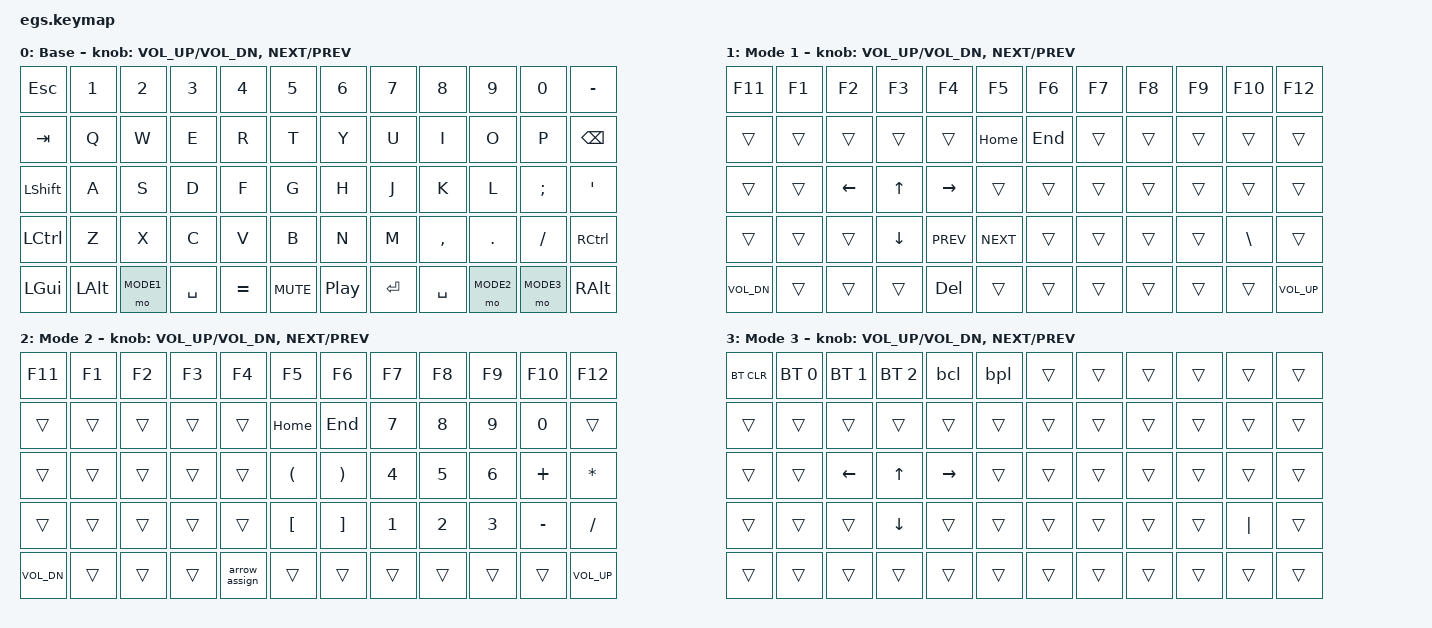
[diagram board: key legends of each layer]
/*
 * Copyright (c) 2026 The EGS_W1 Project
 * SPDX-License-Identifier: MIT
 *
 */

#include <behaviors.dtsi>
#include <dt-bindings/zmk/keys.h>
#include <dt-bindings/zmk/bt.h>
#include <dt-bindings/zmk/outputs.h>
#include <dt-bindings/zmk/ext_power.h>
#include <dt-bindings/zmk/pointing.h>

#define BASE   0
#define MODE1  1
#define MODE2  2
#define MODE3  3

/ {

    macros {
        bcl: battery_central {
            compatible = "zmk,behavior-macro";
            #binding-cells = <0>;
            wait-ms = <10>;
            tap-ms = <10>;
            bindings = <&none>;  /* placeholder — no C_BATTERY in ZMK */
        };

        bpl: battery_peripheral {
            compatible = "zmk,behavior-macro";
            #binding-cells = <0>;
            wait-ms = <10>;
            tap-ms = <10>;
            bindings = <&none>;
        };
        
        arrow_assign: arrow_assign {
            compatible = "zmk,behavior-macro";
            #binding-cells = <0>;
            wait-ms = <10>;
            tap-ms = <10>;
            bindings = <&kp LESS_THAN &kp MINUS>;
        };
};

    keymap {
        compatible = "zmk,keymap";

        base_layer {
            display-name = "Base";
            bindings = <
&kp ESC    &kp N1    &kp N2    &kp N3    &kp N4    &kp N5            &kp N6     &kp N7    &kp N8     &kp N9    &kp N0    &kp MINUS
&kp TAB    &kp Q     &kp W     &kp E     &kp R     &kp T             &kp Y      &kp U     &kp I      &kp O     &kp P     &kp BSPC
&kp LSHFT  &kp A     &kp S     &kp D     &kp F     &kp G             &kp H      &kp J     &kp K      &kp L     &kp SEMI  &kp SQT
&kp LCTRL  &kp Z     &kp X     &kp C     &kp V     &kp B             &kp N      &kp M     &kp COMMA  &kp DOT   &kp FSLH  &kp RCTRL
&kp LGUI   &kp LALT  &mo MODE1 &kp SPACE &kp EQUAL   &kp C_MUTE        &kp C_PP   &kp ENTER &kp SPACE  &mo MODE2 &mo MODE3 &kp RALT
            >;
            sensor-bindings = <&inc_dec_kp C_VOL_UP C_VOL_DN &inc_dec_kp C_NEXT C_PREV>;
        };

        mode1_layer {
            display-name = "Mode 1";
            bindings = <
&kp F11       &kp F1  &kp F2    &kp F3    &kp F4    &kp F5          &kp F6    &kp F7  &kp F8  &kp F9  &kp F10  &kp F12
&trans        &trans  &trans    &trans    &trans    &kp HOME        &kp END   &trans  &trans  &trans  &trans   &trans
&trans        &trans  &kp LEFT  &kp UP    &kp RIGHT &trans          &trans    &trans  &trans  &trans  &trans   &trans
&trans        &trans  &trans    &kp DOWN  &kp C_PREV &kp C_NEXT     &trans    &trans  &trans  &trans  &kp BSLH   &trans
&kp C_VOL_DN  &trans  &trans    &trans    &kp DEL    &trans          &trans    &trans  &trans  &trans  &trans   &kp C_VOL_UP
            >;
            sensor-bindings = <&inc_dec_kp C_VOL_UP C_VOL_DN &inc_dec_kp C_NEXT C_PREV>;
        };

        mode2_layer {
            display-name = "Mode 2";
            bindings = <
&kp F11       &kp F1  &kp F2  &kp F3  &kp F4  &kp F5        &kp F6    &kp F7  &kp F8  &kp F9  &kp F10   &kp F12
&trans        &trans  &trans  &trans  &trans  &kp HOME      &kp END   &kp N7  &kp N8  &kp N9  &kp N0    &trans
&trans        &trans  &trans  &trans  &trans  &kp LPAR      &kp RPAR  &kp N4  &kp N5  &kp N6  &kp PLUS  &kp STAR
&trans        &trans  &trans  &trans  &trans  &kp LBKT      &kp RBKT  &kp N1  &kp N2  &kp N3  &kp MINUS &kp FSLH
&kp C_VOL_DN  &trans  &trans  &trans  &arrow_assign  &trans        &trans    &trans  &trans  &trans  &trans    &kp C_VOL_UP
            >;
            sensor-bindings = <&inc_dec_kp C_VOL_UP C_VOL_DN &inc_dec_kp C_NEXT C_PREV>;
        };

        mode3_layer {
            display-name = "Mode 3";
            bindings = <
&bt BT_CLR  &bt BT_SEL 0  &bt BT_SEL 1  &bt BT_SEL 2  &bcl       &bpl           &trans  &trans  &trans  &trans  &trans  &trans
&trans      &trans        &trans        &trans        &trans    &trans          &trans  &trans  &trans  &trans  &trans  &trans
&trans      &trans        &kp LEFT      &kp UP        &kp RIGHT   &trans        &trans  &trans  &trans  &trans  &trans  &trans
&trans      &trans        &trans        &kp DOWN      &trans   &trans           &trans  &trans  &trans  &trans  &kp PIPE  &trans
&trans      &trans        &trans        &trans        &trans   &trans           &trans  &trans  &trans  &trans  &trans  &trans
            >;
            sensor-bindings = <&inc_dec_kp C_VOL_UP C_VOL_DN &inc_dec_kp C_NEXT C_PREV>;
        };
    };
};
